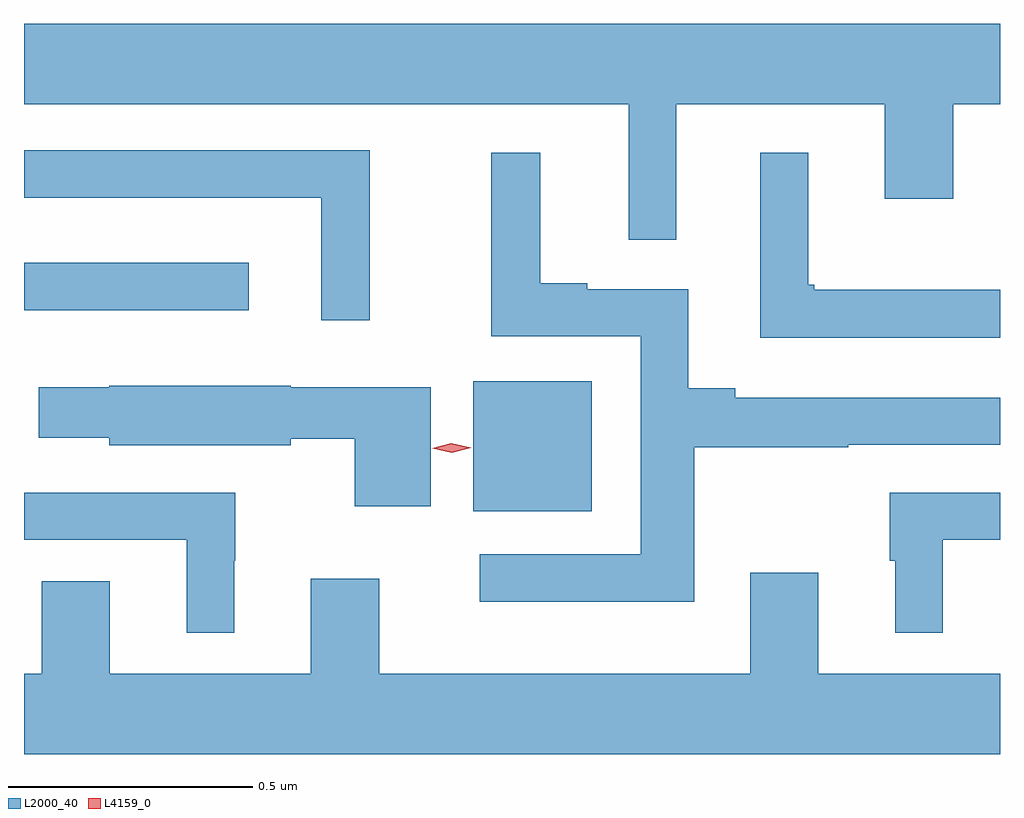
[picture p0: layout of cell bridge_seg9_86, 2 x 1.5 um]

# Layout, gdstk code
import gdstk
lib = gdstk.Library(unit=1e-6, precision=1e-09)
def R(c, l, rs):  # rectangles x0, y0, x1, y1
    for r in rs: c.add(gdstk.rectangle(r[:2], r[2:], *l))
def P(c, l, *ps):  # polygons
    for p in ps: c.add(gdstk.Polygon(p, *l))
L2000_40 = (2000, 40)
L4159_0 = (4159, 0)

bridge_seg9_86 = lib.new_cell('bridge_seg9_86')
R(bridge_seg9_86, L2000_40, [(835.13,1232.882,835.372,1233.148), (834.209,1233.293,834.67,1233.391)])
P(bridge_seg9_86, L2000_40, [(835.546,1233.716),(835.973,1233.716),(835.973,1233.522),(836.113,1233.522),(836.113,1233.716),(836.209,1233.716),(836.209,1233.88),(834.209,1233.88),(834.209,1233.716),(835.448,1233.716),(835.448,1233.438),(835.546,1233.438)],
  [(834.918,1233.621),(834.209,1233.621),(834.209,1233.524),(834.818,1233.524),(834.818,1233.273),(834.918,1233.273)],
  [(835.582,1233.013),(835.898,1233.013),(835.898,1233.018),(836.209,1233.018),(836.209,1233.114),(835.666,1233.114),(835.666,1233.134),(835.57,1233.134),(835.57,1233.336),(835.363,1233.336),(835.363,1233.349),(835.267,1233.349),(835.267,1233.616),(835.166,1233.616),(835.166,1233.24),(835.473,1233.24),(835.473,1232.793),(835.143,1232.793),(835.143,1232.696),(835.582,1232.696)],
  [(836.209,1233.335),(835.828,1233.335),(835.828,1233.346),(835.816,1233.346),(835.816,1233.616),(835.718,1233.616),(835.718,1233.237),(836.209,1233.237)],
  [(835.042,1233.136),(834.756,1233.136),(834.756,1233.139),(834.384,1233.139),(834.384,1233.136),(834.239,1233.136),(834.239,1233.032),(834.384,1233.032),(834.384,1233.017),(834.756,1233.017),(834.756,1233.03),(834.887,1233.03),(834.887,1232.892),(835.042,1232.892)],
  [(834.64,1232.78),(834.642,1232.78),(834.642,1232.919),(834.209,1232.919),(834.209,1232.823),(834.542,1232.823),(834.542,1232.633),(834.64,1232.633)],
  [(836.092,1232.823),(836.209,1232.823),(836.209,1232.919),(835.983,1232.919),(835.983,1232.78),(835.994,1232.78),(835.994,1232.633),(836.092,1232.633)],
  [(836.209,1232.548),(835.837,1232.548),(835.837,1232.755),(835.697,1232.755),(835.697,1232.548),(834.937,1232.548),(834.937,1232.743),(834.797,1232.743),(834.797,1232.548),(834.385,1232.548),(834.385,1232.738),(834.245,1232.738),(834.245,1232.548),(834.209,1232.548),(834.209,1232.384),(836.209,1232.384)])
P(bridge_seg9_86, L4159_0, [(835.086,1233.001),(835.046,1233.011),(835.046,1233.011),(835.046,1233.011),(835.085,1233.021),(835.125,1233.012),(835.126,1233.012),(835.125,1233.012)])

lib.write_gds('bridge_seg9_86.gds')
